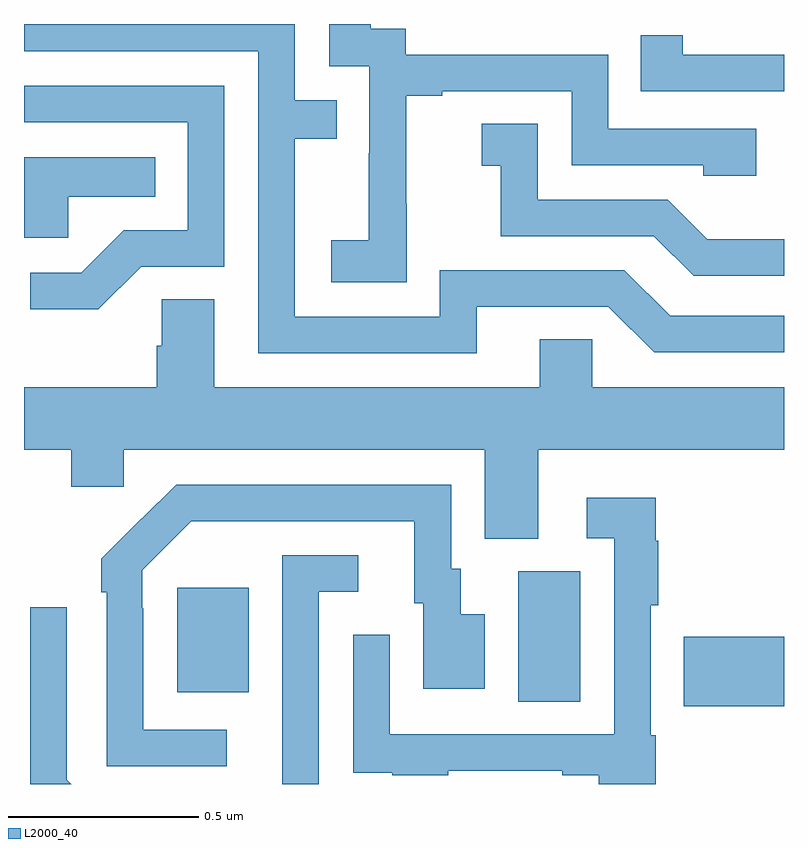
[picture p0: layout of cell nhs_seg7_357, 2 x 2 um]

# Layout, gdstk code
import gdstk
lib = gdstk.Library(unit=1e-6, precision=1e-09)
def R(c, l, rs):  # rectangles x0, y0, x1, y1
    for r in rs: c.add(gdstk.rectangle(r[:2], r[2:], *l))
def P(c, l, *ps):  # polygons
    for p in ps: c.add(gdstk.Polygon(p, *l))
L2000_40 = (2000, 40)

nhs_seg7_357 = lib.new_cell('nhs_seg7_357')
R(nhs_seg7_357, L2000_40, [(116.736,1069.205,117,1069.388), (116.3,1069.216,116.464,1069.56), (115.403,1069.241,115.591,1069.516)])
P(nhs_seg7_357, L2000_40, [(116.191,1070.256),(116.538,1070.256),(116.658,1070.136),(117,1070.136),(117,1070.232),(116.7,1070.232),(116.58,1070.352),(116.094,1070.352),(116.094,1070.229),(115.713,1070.229),(115.713,1070.698),(115.823,1070.698),(115.823,1070.799),(115.713,1070.799),(115.713,1071),(115,1071),(115,1070.928),(115.617,1070.928),(115.617,1070.133),(116.191,1070.133)],
  [(116.007,1070.527),(116.006,1070.527),(116.006,1070.811),(116.101,1070.811),(116.101,1070.823),(116.442,1070.823),(116.442,1070.628),(116.787,1070.628),(116.787,1070.601),(116.927,1070.601),(116.927,1070.724),(116.538,1070.724),(116.538,1070.919),(116.004,1070.919),(116.004,1070.988),(115.912,1070.988),(115.912,1071),(115.803,1071),(115.803,1070.889),(115.908,1070.889),(115.908,1070.66),(115.907,1070.66),(115.907,1070.431),(115.809,1070.431),(115.809,1070.321),(116.007,1070.321)],
  [(117,1070.919),(116.734,1070.919),(116.734,1070.971),(116.623,1070.971),(116.623,1070.823),(117,1070.823)],
  [(115.308,1070.361),(115.527,1070.361),(115.527,1070.838),(115,1070.838),(115,1070.742),(115.431,1070.742),(115.431,1070.457),(115.262,1070.457),(115.151,1070.346),(115.017,1070.346),(115.017,1070.249),(115.195,1070.249)],
  [(117,1070.434),(116.798,1070.434),(116.694,1070.538),(116.352,1070.538),(116.352,1070.737),(116.205,1070.737),(116.205,1070.627),(116.254,1070.627),(116.254,1070.442),(116.657,1070.442),(116.762,1070.337),(117,1070.337)],
  [(115.116,1070.546),(115.346,1070.546),(115.346,1070.65),(115,1070.65),(115,1070.438),(115.116,1070.438)],
  [(116.353,1069.88),(117,1069.88),(117,1070.044),(116.496,1070.044),(116.496,1070.171),(116.357,1070.171),(116.357,1070.044),(115.501,1070.044),(115.501,1070.276),(115.362,1070.276),(115.362,1070.153),(115.349,1070.153),(115.349,1070.044),(115,1070.044),(115,1069.88),(115.124,1069.88),(115.124,1069.782),(115.263,1069.782),(115.263,1069.88),(116.213,1069.88),(116.213,1069.645),(116.353,1069.645)],
  [(115.534,1069.143),(115.314,1069.143),(115.314,1069.463),(115.311,1069.463),(115.311,1069.563),(115.44,1069.692),(116.027,1069.692),(116.027,1069.476),(116.051,1069.476),(116.051,1069.251),(116.212,1069.251),(116.212,1069.447),(116.149,1069.447),(116.149,1069.566),(116.124,1069.566),(116.124,1069.788),(115.4,1069.788),(115.309,1069.697),(115.308,1069.698),(115.203,1069.593),(115.203,1069.505),(115.218,1069.505),(115.218,1069.047),(115.534,1069.047)],
  [(116.662,1069.128),(116.649,1069.128),(116.649,1069.471),(116.669,1069.471),(116.669,1069.64),(116.662,1069.64),(116.662,1069.753),(116.481,1069.753),(116.481,1069.647),(116.553,1069.647),(116.553,1069.131),(115.962,1069.131),(115.962,1069.393),(115.866,1069.393),(115.866,1069.138),(115.867,1069.138),(115.867,1069.029),(115.969,1069.029),(115.969,1069.023),(116.117,1069.023),(116.117,1069.035),(116.417,1069.035),(116.417,1069.023),(116.513,1069.023),(116.513,1069),(116.662,1069)],
  [(115.776,1069.506),(115.879,1069.506),(115.879,1069.602),(115.68,1069.602),(115.68,1069.145),(115.679,1069.145),(115.679,1069),(115.776,1069)],
  [(115.113,1069.011),(115.113,1069.465),(115.017,1069.465),(115.017,1069),(115.124,1069)])

lib.write_gds('nhs_seg7_357.gds')
